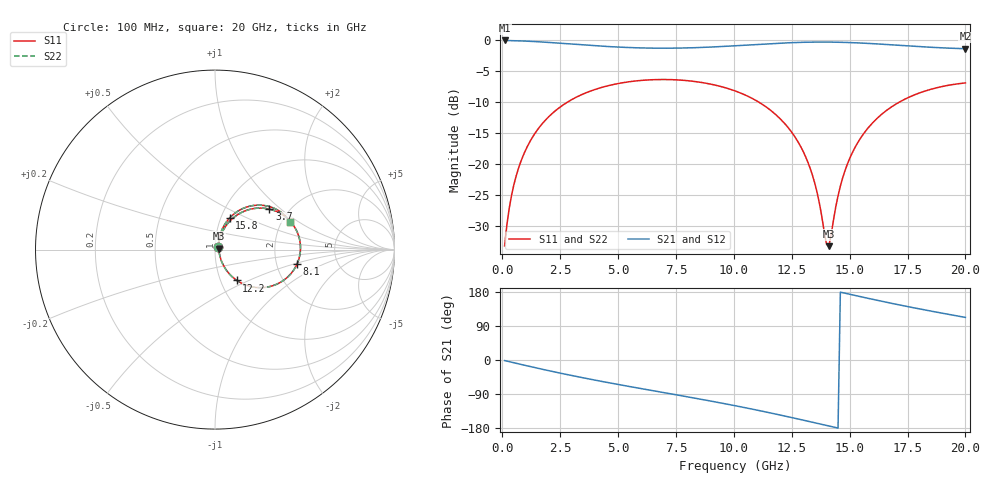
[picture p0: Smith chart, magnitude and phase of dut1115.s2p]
! Touchstone file exported from HFSS 2026.1.0
!  File:  C:/ffzhzh/LocalFiles/Ansys_Project_Files/temp_train_TSV_RDL_1115_1783305427_38704.aedt
!  Generated:  10:47:09 AM Jul  6, 2026
!  Design:  TSV_RDL
!  Project:  temp_train_TSV_RDL_1115_1783305427_38704
! Variables:
!  h_bsmrdl = 5.88um
!  h_ox = 20um
!  h_rdl = 5um
!  h_sub = 78.97um
!  h_tmrdl = 3.27um
!  h_tsv = 78.97um
!  h_via = 3um
!  l_bsmrdl = 978.26um
!  l_sub = 4147.86um
!  l_tmrdl = 177.29um
!  m_sub = 200um
!  pitch = 44.58um
!  r_tsv = 6.49um
!  s_tmrdl = 10um
!  w_bsmrdl = 23.45um
!  w_sub = 500um
!  w_tmrdl = 11.19um
!  x_tsv_center1 = 182.885um
!  x_tsv_center2 = 1184.595um
!  x_tsv_center3 = 1373.075um
!  x_tsv_center4 = 2374.785um
!  x_tsv_center5 = 2563.265um
!  x_tsv_center6 = 3564.975um
# GHz S MA R 50.000000
! Terminal data exported
! Port[1] = TM_RDL1_1_T1
! Port[2] = TM_RDL5_1_T1
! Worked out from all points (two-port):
!   200 points, 100 MHz to 20 GHz, reference 50 ohm
!   highest |S21| = -0.15 dB at 100 MHz (marker M1); lowest = -1.5 dB at 20 GHz (marker M2)
!   |S21| within 3 dB of the highest: start of sweep to end of sweep
!   lowest |S11| = -33.3 dB at 14.1 GHz (marker M3), VSWR 1.04, Z = 52.1 + j0.604 ohm
!   |S11| at or under -10 dB: start of sweep to 2.85 GHz; 11.04 GHz to 17.18 GHz (6.144 GHz wide, 43.5 % of centre)
!   |S22| runs from -33.5 to -6.4 dB; largest |S21 - S12| = 1.6e-14
!   S11 on the Smith chart (normalised r, x): 100 MHz: 1.03, +0.03; 3.7 GHz: 1.60, +0.84; 8.1 GHz: 2.61, -0.53; 12.2 GHz: 1.19, -0.43; 15.8 GHz: 1.10, +0.40; 20 GHz: 2.21, +0.86
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0.1  0.0218 37.9  0.9831 -1.5  0.9831 -1.5  0.0218 37.9
! Gamma 0 0 0 0
! Port Impedance 50 0 50 0
0.3  0.04384 61.0  0.981 -4.4  0.981 -4.4  0.04384 61.0
0.5  0.06772 66.4  0.9789 -7.3  0.9789 -7.3  0.06772 66.4
1.1  0.1397 65.7  0.9697 -15.8  0.9697 -15.8  0.1397 65.7
2.1  0.2485 55.2  0.9452 -29.4  0.9452 -29.4  0.2485 55.2
3.5  0.3649 38.9  0.9047 -47.1  0.9047 -47.1  0.3649 38.9
3.7  0.3779 36.6  0.8992 -49.5  0.8992 -49.5  0.3779 36.6
6.8  0.4764 3.6  0.8516 -84.2  0.8516 -84.2  0.4765 3.6
8.1  0.4643 -9.9  0.8573 -98.3  0.8573 -98.3  0.4644 -9.9
10.1  0.3828 -31.4  0.8919 -121.1  0.8919 -121.1  0.3828 -31.5
12.2  0.2102 -54.7  0.9387 -147.9  0.9387 -147.9  0.2103 -54.9
12.9  0.1359 -60.8  0.9491 -157.4  0.9491 -157.4  0.1359 -61.0
13.4  0.08025 -61.2  0.9533 -164.3  0.9533 -164.3  0.08021 -61.5
13.7  0.04752 -54.0  0.9543 -168.5  0.9543 -168.5  0.0474 -54.5
14  0.02249 -13.8  0.9542 -172.6  0.9542 -172.6  0.02212 -14.4
14.1  0.02168 15.5  0.9539 -174.0  0.9539 -174.0  0.02124 15.5
14.5  0.05516 66.0  0.9514 -179.6  0.9514 -179.6  0.05493 66.3
14.8  0.0879 70.6  0.9482 176.3  0.9482 176.3  0.08773 70.8
15.8  0.1943 65.2  0.931 162.7  0.931 162.7  0.1942 65.3
16.7  0.2777 55.7  0.9097 151.0  0.9097 151.0  0.2776 55.8
18.3  0.387 38.2  0.8708 131.5  0.8708 131.5  0.387 38.2
20  0.4474 20.3  0.8434 112.4  0.8434 112.4  0.4473 20.3
